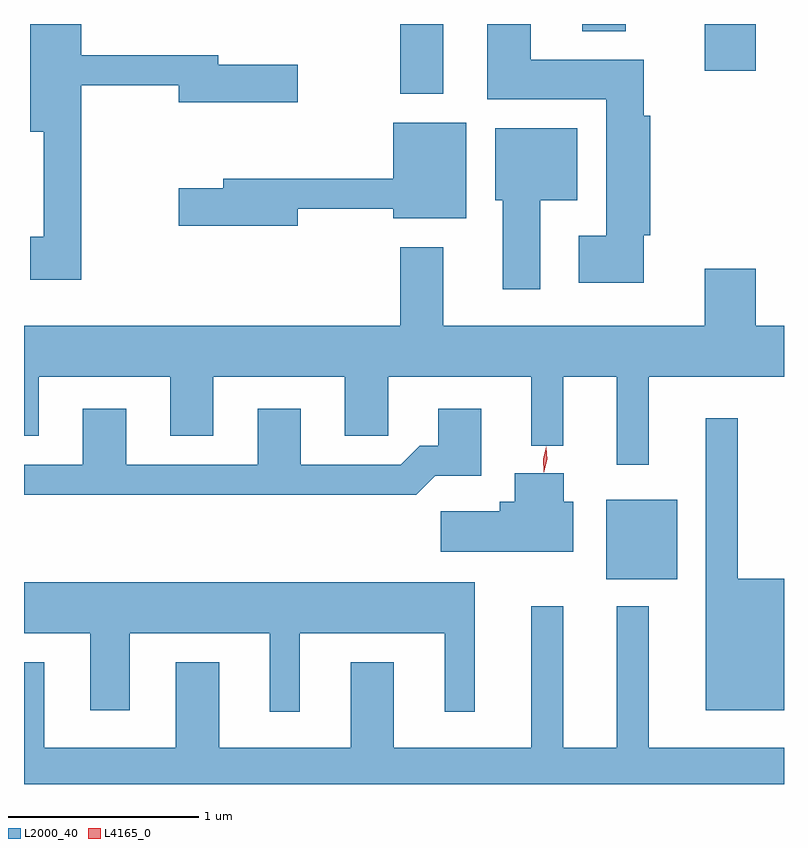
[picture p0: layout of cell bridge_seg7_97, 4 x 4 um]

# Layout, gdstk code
import gdstk
lib = gdstk.Library(unit=1e-6, precision=1e-09)
def R(c, l, rs):  # rectangles x0, y0, x1, y1
    for r in rs: c.add(gdstk.rectangle(r[:2], r[2:], *l))
def P(c, l, *ps):  # polygons
    for p in ps: c.add(gdstk.Polygon(p, *l))
L2000_40 = (2000, 40)
L4165_0 = (4165, 0)

bridge_seg7_97 = lib.new_cell('bridge_seg7_97')
R(bridge_seg7_97, L2000_40, [(1653.116,1742.111,1653.489,1742.529), (1652.031,1744.666,1652.259,1745.033), (1653.636,1744.786,1653.904,1745.033), (1652.991,1744.996,1653.219,1745.033)])
P(bridge_seg7_97, L2000_40, [(1650.354,1744.711),(1650.866,1744.711),(1650.866,1744.621),(1651.494,1744.621),(1651.494,1744.819),(1651.074,1744.819),(1651.074,1744.869),(1650.354,1744.869),(1650.354,1745.033),(1650.086,1745.033),(1650.086,1744.466),(1650.156,1744.466),(1650.156,1743.914),(1650.086,1743.914),(1650.086,1743.686),(1650.354,1743.686)],
  [(1653.314,1743.921),(1653.349,1743.921),(1653.349,1744.549),(1653.314,1744.549),(1653.314,1744.844),(1652.719,1744.844),(1652.719,1745.033),(1652.491,1745.033),(1652.491,1744.636),(1653.116,1744.636),(1653.116,1743.919),(1652.971,1743.919),(1652.971,1743.671),(1653.314,1743.671)],
  [(1651.494,1744.061),(1651.996,1744.061),(1651.996,1744.011),(1652.379,1744.011),(1652.379,1744.514),(1651.996,1744.514),(1651.996,1744.219),(1651.101,1744.219),(1651.101,1744.169),(1650.866,1744.169),(1650.866,1743.971),(1651.494,1743.971)],
  [(1652.769,1744.106),(1652.964,1744.106),(1652.964,1744.484),(1652.531,1744.484),(1652.531,1744.106),(1652.571,1744.106),(1652.571,1743.636),(1652.769,1743.636)],
  [(1653.339,1743.176),(1654.052,1743.176),(1654.052,1743.444),(1653.904,1743.444),(1653.904,1743.744),(1653.636,1743.744),(1653.636,1743.444),(1652.259,1743.444),(1652.259,1743.859),(1652.031,1743.859),(1652.031,1743.444),(1650.052,1743.444),(1650.052,1742.866),(1650.129,1742.866),(1650.129,1743.176),(1650.821,1743.176),(1650.821,1742.866),(1651.049,1742.866),(1651.049,1743.176),(1651.741,1743.176),(1651.741,1742.866),(1651.969,1742.866),(1651.969,1743.176),(1652.721,1743.176),(1652.721,1742.813),(1652.889,1742.813),(1652.889,1743.176),(1653.171,1743.176),(1653.171,1742.713),(1653.339,1742.713)],
  [(1652.217,1742.656),(1652.459,1742.656),(1652.459,1743.009),(1652.231,1743.009),(1652.231,1742.814),(1652.134,1742.814),(1652.034,1742.714),(1651.509,1742.714),(1651.509,1743.009),(1651.281,1743.009),(1651.281,1742.714),(1650.589,1742.714),(1650.589,1743.009),(1650.361,1743.009),(1650.361,1742.714),(1650.052,1742.714),(1650.052,1742.556),(1652.117,1742.556)],
  [(1654.052,1742.114),(1653.809,1742.114),(1653.809,1742.958),(1653.641,1742.958),(1653.641,1741.421),(1654.052,1741.421)],
  [(1652.944,1742.519),(1652.894,1742.519),(1652.894,1742.669),(1652.636,1742.669),(1652.636,1742.519),(1652.556,1742.519),(1652.556,1742.469),(1652.246,1742.469),(1652.246,1742.256),(1652.944,1742.256)],
  [(1651.504,1741.826),(1652.266,1741.826),(1652.266,1741.413),(1652.424,1741.413),(1652.424,1742.094),(1650.052,1742.094),(1650.052,1741.826),(1650.401,1741.826),(1650.401,1741.421),(1650.609,1741.421),(1650.609,1741.826),(1651.346,1741.826),(1651.346,1741.413),(1651.504,1741.413)],
  [(1654.052,1741.224),(1653.339,1741.224),(1653.339,1741.968),(1653.171,1741.968),(1653.171,1741.224),(1652.889,1741.224),(1652.889,1741.968),(1652.721,1741.968),(1652.721,1741.224),(1651.999,1741.224),(1651.999,1741.674),(1651.771,1741.674),(1651.771,1741.224),(1651.079,1741.224),(1651.079,1741.674),(1650.851,1741.674),(1650.851,1741.224),(1650.159,1741.224),(1650.159,1741.674),(1650.052,1741.674),(1650.052,1741.033),(1654.052,1741.033)])
P(bridge_seg7_97, L4165_0, [(1652.788,1742.673),(1652.787,1742.674),(1652.784,1742.742),(1652.8,1742.809),(1652.801,1742.809),(1652.801,1742.809),(1652.804,1742.74),(1652.788,1742.674)],
  [(1652.79,1742.677),(1652.79,1742.678),(1652.785,1742.743),(1652.8,1742.806),(1652.801,1742.806),(1652.801,1742.806),(1652.805,1742.741),(1652.79,1742.678)])

lib.write_gds('bridge_seg7_97.gds')
